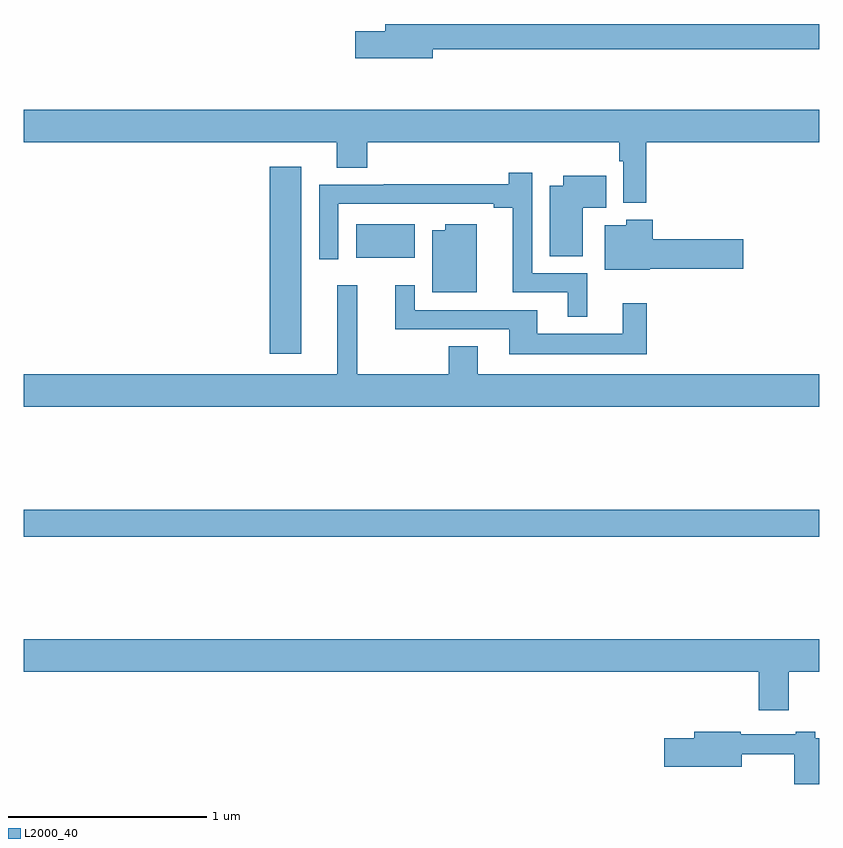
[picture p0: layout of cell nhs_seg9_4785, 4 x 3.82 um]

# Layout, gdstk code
import gdstk
lib = gdstk.Library(unit=1e-6, precision=1e-09)
def R(c, l, rs):  # rectangles x0, y0, x1, y1
    for r in rs: c.add(gdstk.rectangle(r[:2], r[2:], *l))
def P(c, l, *ps):  # polygons
    for p in ps: c.add(gdstk.Polygon(p, *l))
L2000_40 = (2000, 40)

nhs_seg9_4785 = lib.new_cell('nhs_seg9_4785')
R(nhs_seg9_4785, L2000_40, [(387,1219.744,391,1219.88), (388.238,1220.664,388.396,1221.604), (388.673,1221.146,388.966,1221.316)])
P(nhs_seg9_4785, L2000_40, [(389.056,1222.194),(391,1222.194),(391,1222.322),(388.817,1222.322),(388.817,1222.286),(388.668,1222.286),(388.668,1222.151),(389.056,1222.151)],
  [(390.131,1221.728),(391,1221.728),(391,1221.892),(387,1221.892),(387,1221.728),(388.574,1221.728),(388.574,1221.598),(388.727,1221.598),(388.727,1221.728),(389.995,1221.728),(389.995,1221.632),(390.015,1221.632),(390.015,1221.422),(390.131,1221.422)],
  [(389.833,1221.069),(389.556,1221.069),(389.556,1221.574),(389.44,1221.574),(389.44,1221.515),(388.81,1221.515),(388.81,1221.513),(388.485,1221.513),(388.485,1221.138),(388.581,1221.138),(388.581,1221.417),(389.363,1221.417),(389.363,1221.397),(389.459,1221.397),(389.459,1220.973),(389.735,1220.973),(389.735,1220.849),(389.833,1220.849)],
  [(389.812,1221.398),(389.93,1221.398),(389.93,1221.559),(389.714,1221.559),(389.714,1221.508),(389.645,1221.508),(389.645,1221.154),(389.812,1221.154)],
  [(390.147,1221.092),(390.619,1221.092),(390.619,1221.239),(390.164,1221.239),(390.164,1221.337),(390.03,1221.337),(390.03,1221.31),(389.921,1221.31),(389.921,1221.086),(390.147,1221.086)],
  [(389.278,1221.316),(389.12,1221.316),(389.12,1221.286),(389.054,1221.286),(389.054,1220.972),(389.278,1220.972)],
  [(390.133,1220.917),(390.011,1220.917),(390.011,1220.764),(389.581,1220.764),(389.581,1220.883),(388.965,1220.883),(388.965,1221.007),(388.868,1221.007),(388.868,1220.787),(389.441,1220.787),(389.441,1220.66),(390.133,1220.66)],
  [(391,1220.56),(389.284,1220.56),(389.284,1220.702),(389.137,1220.702),(389.137,1220.56),(388.676,1220.56),(388.676,1221.007),(388.577,1221.007),(388.577,1220.56),(387,1220.56),(387,1220.396),(391,1220.396)],
  [(390.847,1219.064),(391,1219.064),(391,1219.228),(387,1219.228),(387,1219.064),(390.695,1219.064),(390.695,1218.87),(390.847,1218.87)],
  [(391,1218.73),(390.981,1218.73),(390.981,1218.763),(390.881,1218.763),(390.881,1218.75),(390.606,1218.75),(390.606,1218.763),(390.371,1218.763),(390.371,1218.729),(390.222,1218.729),(390.222,1218.587),(390.61,1218.587),(390.61,1218.649),(390.874,1218.649),(390.874,1218.5),(391,1218.5)])

lib.write_gds('nhs_seg9_4785.gds')
